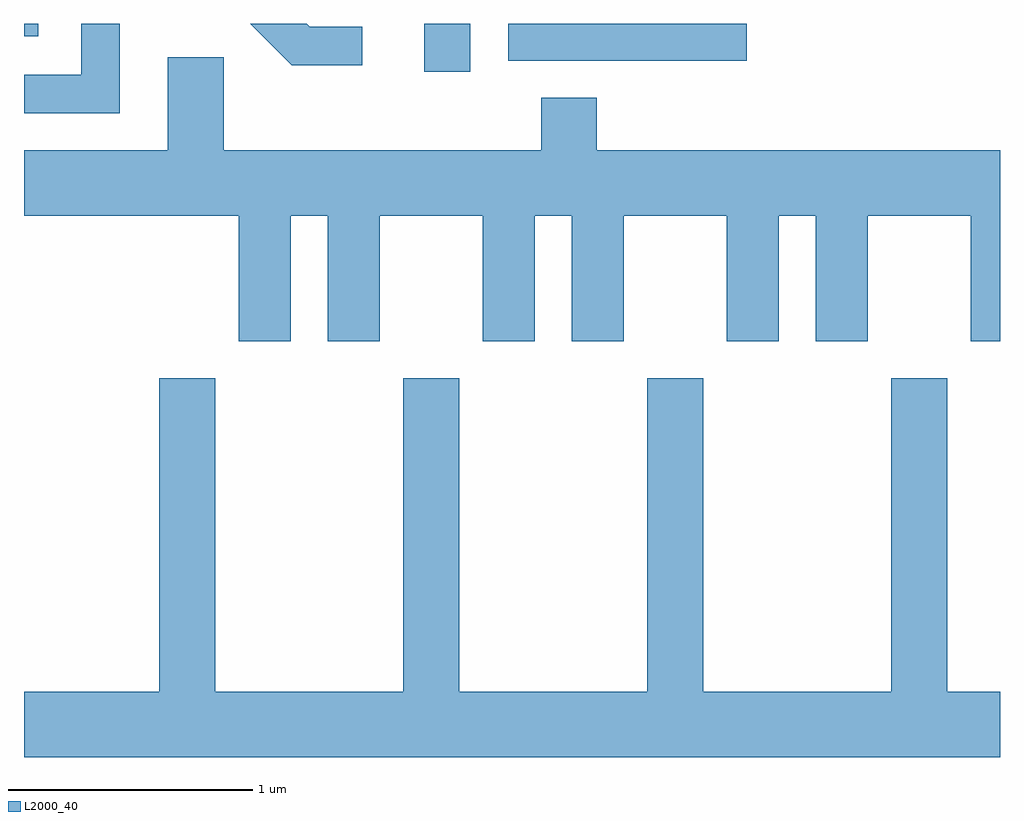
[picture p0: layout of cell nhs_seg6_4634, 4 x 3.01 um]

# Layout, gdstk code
import gdstk
lib = gdstk.Library(unit=1e-6, precision=1e-09)
def R(c, l, rs):  # rectangles x0, y0, x1, y1
    for r in rs: c.add(gdstk.rectangle(r[:2], r[2:], *l))
def P(c, l, *ps):  # polygons
    for p in ps: c.add(gdstk.Polygon(p, *l))
L2000_40 = (2000, 40)

nhs_seg6_4634 = lib.new_cell('nhs_seg6_4634')
R(nhs_seg6_4634, L2000_40, [(329.251,1543.966,329.439,1544.162), (329.596,1544.011,330.574,1544.162), (327.611,1544.111,327.669,1544.162)])
P(nhs_seg6_4634, L2000_40, [(328.998,1544.149),(328.782,1544.149),(328.769,1544.162),(328.538,1544.162),(328.709,1543.991),(328.998,1543.991)],
  [(328.004,1544.162),(327.846,1544.162),(327.846,1543.954),(327.611,1543.954),(327.611,1543.796),(328.004,1543.796)],
  [(329.959,1543.859),(329.731,1543.859),(329.731,1543.644),(328.429,1543.644),(328.429,1544.024),(328.201,1544.024),(328.201,1543.644),(327.611,1543.644),(327.611,1543.376),(328.491,1543.376),(328.491,1542.861),(328.704,1542.861),(328.704,1543.376),(328.856,1543.376),(328.856,1542.861),(329.069,1542.861),(329.069,1543.376),(329.491,1543.376),(329.491,1542.861),(329.704,1542.861),(329.704,1543.376),(329.856,1543.376),(329.856,1542.861),(330.069,1542.861),(330.069,1543.376),(330.491,1543.376),(330.491,1542.861),(330.704,1542.861),(330.704,1543.376),(330.856,1543.376),(330.856,1542.861),(331.069,1542.861),(331.069,1543.376),(331.491,1543.376),(331.491,1542.861),(331.611,1542.861),(331.611,1543.644),(329.959,1543.644)],
  [(331.611,1541.424),(331.394,1541.424),(331.394,1542.709),(331.166,1542.709),(331.166,1541.424),(330.394,1541.424),(330.394,1542.709),(330.166,1542.709),(330.166,1541.424),(329.394,1541.424),(329.394,1542.709),(329.166,1542.709),(329.166,1541.424),(328.394,1541.424),(328.394,1542.709),(328.166,1542.709),(328.166,1541.424),(327.611,1541.424),(327.611,1541.156),(331.611,1541.156)])

lib.write_gds('nhs_seg6_4634.gds')
